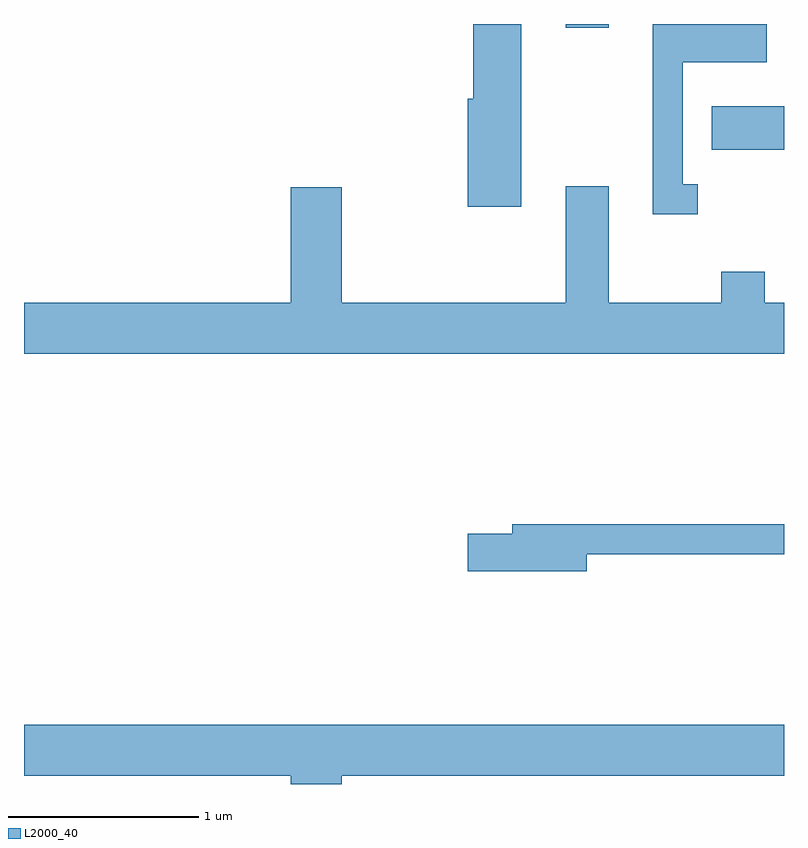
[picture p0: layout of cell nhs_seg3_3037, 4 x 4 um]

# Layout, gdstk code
import gdstk
lib = gdstk.Library(unit=1e-6, precision=1e-09)
def R(c, l, rs):  # rectangles x0, y0, x1, y1
    for r in rs: c.add(gdstk.rectangle(r[:2], r[2:], *l))
def P(c, l, *ps):  # polygons
    for p in ps: c.add(gdstk.Polygon(p, *l))
L2000_40 = (2000, 40)

nhs_seg3_3037 = lib.new_cell('nhs_seg3_3037')
R(nhs_seg3_3037, L2000_40, [(277.231,1209.231,277.611,1209.459), (276.461,1209.871,276.689,1209.892)])
P(nhs_seg3_3037, L2000_40, [(276.229,1209.892),(275.976,1209.892),(275.976,1209.499),(275.946,1209.499),(275.946,1208.931),(276.229,1208.931)],
  [(277.158,1209.049),(277.079,1209.049),(277.079,1209.691),(277.519,1209.691),(277.519,1209.892),(276.921,1209.892),(276.921,1208.891),(277.158,1208.891)],
  [(277.611,1208.424),(277.509,1208.424),(277.509,1208.589),(277.281,1208.589),(277.281,1208.424),(276.689,1208.424),(276.689,1209.039),(276.461,1209.039),(276.461,1208.424),(275.284,1208.424),(275.284,1209.034),(275.016,1209.034),(275.016,1208.424),(273.611,1208.424),(273.611,1208.156),(277.611,1208.156)],
  [(276.574,1207.101),(277.611,1207.101),(277.611,1207.259),(276.181,1207.259),(276.181,1207.209),(275.946,1207.209),(275.946,1207.011),(276.574,1207.011)],
  [(275.284,1205.936),(277.611,1205.936),(277.611,1206.204),(273.611,1206.204),(273.611,1205.936),(275.016,1205.936),(275.016,1205.892),(275.284,1205.892)])

lib.write_gds('nhs_seg3_3037.gds')
